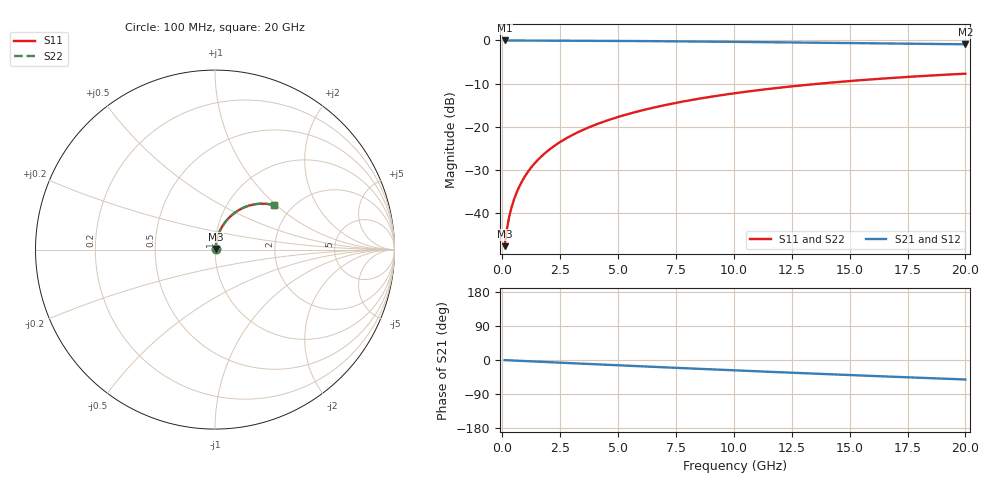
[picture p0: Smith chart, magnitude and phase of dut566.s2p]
! Touchstone file exported from HFSS 2026.1.0
!  File:  C:/ffzhzh/LocalFiles/Ansys_Project_Files/temp_train_TMRDL_566_1783007959_51716.aedt
!  Generated:  12:00:54 AM Jul  3, 2026
!  Design:  TMRDL
!  Project:  temp_train_TMRDL_566_1783007959_51716
! Variables:
!  h_bsmrdl = 2um
!  h_ox = 20um
!  h_rdl = 5um
!  h_sub = 80um
!  h_tmrdl = 4.12um
!  h_tsv = 80um
!  h_via = 3um
!  l_bsmrdl = 300um
!  l_sub = 1197.07um
!  l_tmrdl = 797.07um
!  m_sub = 200um
!  pitch = 52.07um
!  r_tsv = 6um
!  s_tmrdl = 10um
!  w_bsmrdl = 18um
!  w_sub = 500um
!  w_tmrdl = 25.89um
!  x_tsv_center1 = 810.015um
!  x_tsv_center2 = 1128.015um
!  x_tsv_center3 = 1950.975um
!  x_tsv_center4 = 2268.975um
!  x_tsv_center5 = 3091.935um
!  x_tsv_center6 = 3409.935um
# GHz S MA R 50.000000
! Terminal data exported
! Port[1] = TM_RDL1_1_T1
! Port[2] = TM_RDL1_1_T2
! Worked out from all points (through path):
!   200 points, 100 MHz to 20 GHz, reference 50 ohm
!   highest |S21| = -0.02 dB at 100 MHz (marker M1); lowest = -0.9 dB at 20 GHz (marker M2)
!   group delay of S21, straight-line fit = 7.15 ps
!   lowest |S11| = -47.7 dB at 100 MHz (marker M3), VSWR 1.01, Z = 50.3 + j0.297 ohm
!   |S11| at or under -10 dB: start of sweep to 13.77 GHz
!   |S22| runs from -47.7 to -7.7 dB; largest |S21 - S12| = 1.1e-14
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0.1  0.004127 45.7  0.9971 -0.3  0.9971 -0.3  0.004127 45.7
! Gamma 0 0 0 0
! Port Impedance 50 0 50 0
0.2  0.00655 61.3  0.9969 -0.6  0.9969 -0.6  0.00655 61.3
0.3  0.009077 68.0  0.9967 -0.9  0.9967 -0.9  0.009077 68.0
0.4  0.01162 71.8  0.9965 -1.2  0.9965 -1.2  0.01162 71.8
0.5  0.01417 74.3  0.9964 -1.4  0.9964 -1.4  0.01417 74.3
0.6  0.01675 76.0  0.9963 -1.7  0.9963 -1.7  0.01675 76.0
0.8  0.02195 78.1  0.9961 -2.3  0.9961 -2.3  0.02195 78.1
1.1  0.0298 79.6  0.9958 -3.1  0.9958 -3.1  0.0298 79.6
1.5  0.04031 80.1  0.9952 -4.3  0.9952 -4.3  0.04031 80.1
1.8  0.04818 80.0  0.9947 -5.1  0.9947 -5.1  0.04818 80.0
2.1  0.05603 79.6  0.9941 -5.9  0.9941 -5.9  0.05603 79.7
2.7  0.07163 78.6  0.9927 -7.6  0.9927 -7.6  0.07162 78.6
3.5  0.09213 76.9  0.9905 -9.8  0.9905 -9.8  0.09213 76.9
4.2  0.1098 75.2  0.9881 -11.8  0.9881 -11.8  0.1098 75.2
5  0.1295 73.2  0.9851 -14.0  0.9851 -14.0  0.1295 73.2
5.9  0.1513 70.9  0.9814 -16.4  0.9814 -16.4  0.1513 70.9
6.8  0.1725 68.6  0.9773 -18.8  0.9773 -18.8  0.1725 68.6
8.3  0.2065 64.8  0.9698 -22.8  0.9698 -22.8  0.2065 64.8
10.1  0.2452 60.3  0.96 -27.5  0.96 -27.5  0.2452 60.4
13.4  0.3096 52.3  0.9404 -35.8  0.9404 -35.8  0.3096 52.3
16.7  0.3649 44.5  0.9199 -43.8  0.9199 -43.8  0.3649 44.6
20  0.4111 37.0  0.9002 -51.4  0.9002 -51.4  0.411 37.1
